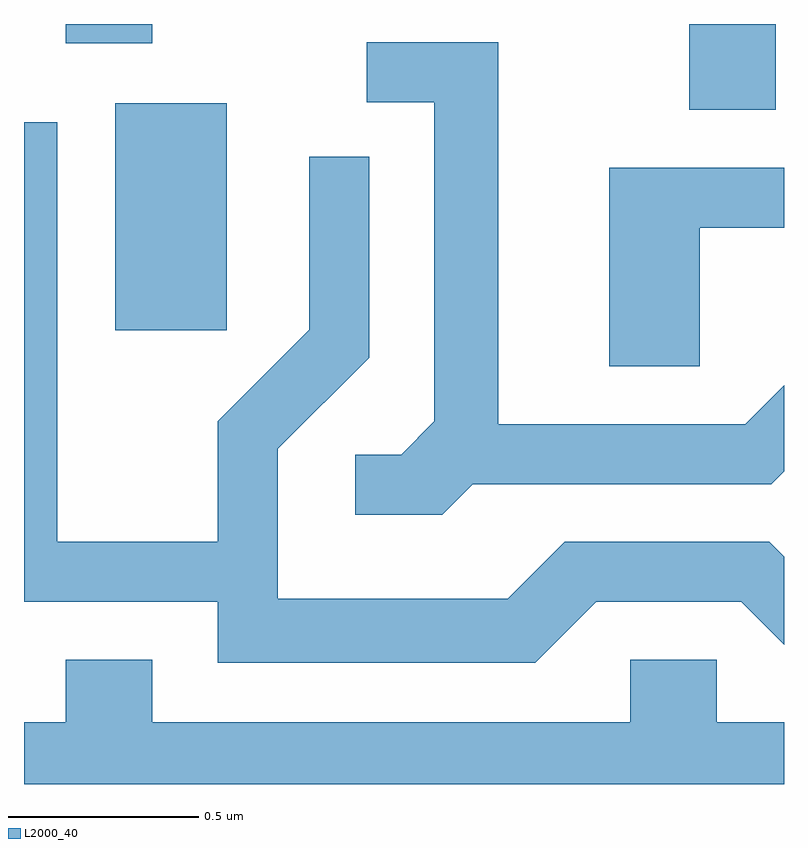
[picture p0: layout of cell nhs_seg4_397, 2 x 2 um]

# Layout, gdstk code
import gdstk
lib = gdstk.Library(unit=1e-6, precision=1e-09)
def R(c, l, rs):  # rectangles x0, y0, x1, y1
    for r in rs: c.add(gdstk.rectangle(r[:2], r[2:], *l))
def P(c, l, *ps):  # polygons
    for p in ps: c.add(gdstk.Polygon(p, *l))
L2000_40 = (2000, 40)

nhs_seg4_397 = lib.new_cell('nhs_seg4_397')
R(nhs_seg4_397, L2000_40, [(187.851,1378.176,188.144,1378.774), (189.361,1378.756,189.589,1378.982), (187.721,1378.931,187.949,1378.982)])
P(nhs_seg4_397, L2000_40, [(188.792,1377.771),(189.577,1377.771),(189.611,1377.805),(189.611,1378.032),(189.509,1377.929),(188.859,1377.929),(188.859,1378.934),(188.513,1378.934),(188.513,1378.776),(188.691,1378.776),(188.691,1377.937),(188.604,1377.849),(188.483,1377.849),(188.483,1377.691),(188.712,1377.691)],
  [(189.117,1377.461),(189.499,1377.461),(189.611,1377.349),(189.611,1377.58),(189.572,1377.619),(189.034,1377.619),(188.884,1377.469),(188.279,1377.469),(188.279,1377.864),(188.519,1378.104),(188.519,1378.633),(188.361,1378.633),(188.361,1378.177),(188.121,1377.937),(188.121,1377.619),(187.699,1377.619),(187.699,1378.724),(187.611,1378.724),(187.611,1377.461),(188.121,1377.461),(188.121,1377.301),(188.957,1377.301)],
  [(189.389,1378.446),(189.611,1378.446),(189.611,1378.604),(189.151,1378.604),(189.151,1378.081),(189.389,1378.081)],
  [(189.611,1377.144),(189.434,1377.144),(189.434,1377.309),(189.206,1377.309),(189.206,1377.144),(187.949,1377.144),(187.949,1377.309),(187.721,1377.309),(187.721,1377.144),(187.611,1377.144),(187.611,1376.982),(189.611,1376.982)])

lib.write_gds('nhs_seg4_397.gds')
